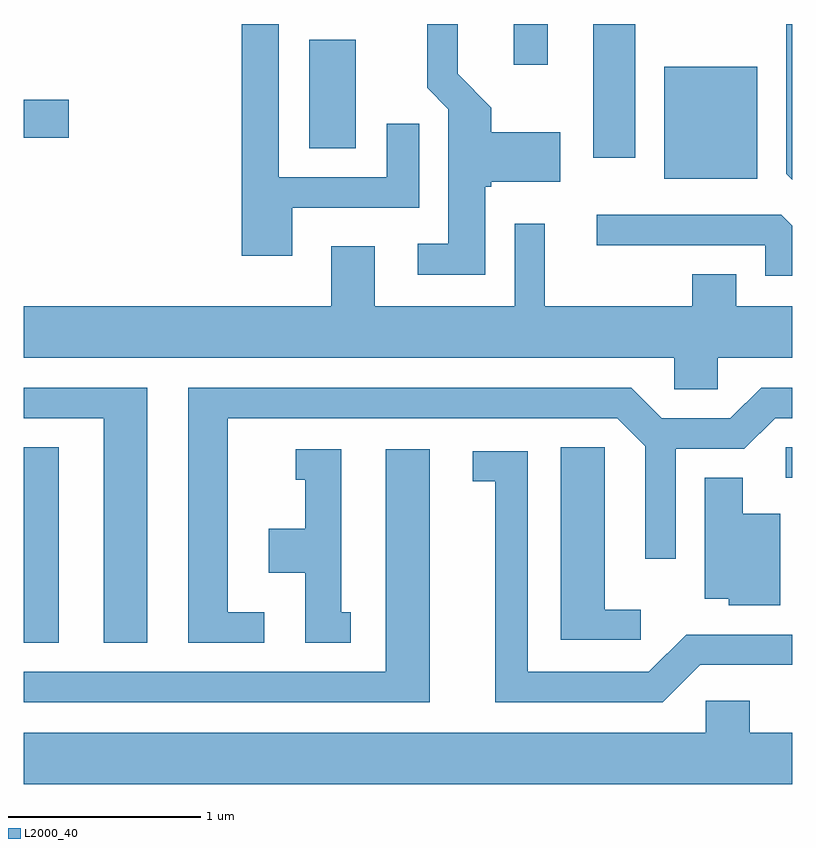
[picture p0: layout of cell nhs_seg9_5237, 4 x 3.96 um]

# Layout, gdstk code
import gdstk
lib = gdstk.Library(unit=1e-6, precision=1e-09)
def R(c, l, rs):  # rectangles x0, y0, x1, y1
    for r in rs: c.add(gdstk.rectangle(r[:2], r[2:], *l))
def P(c, l, *ps):  # polygons
    for p in ps: c.add(gdstk.Polygon(p, *l))
L2000_40 = (2000, 40)

nhs_seg9_5237 = lib.new_cell('nhs_seg9_5237')
R(nhs_seg9_5237, L2000_40, [(339.611,1999.211,339.794,2000.229), (343.578,2000.071,343.611,2000.229), (342.946,2001.626,343.429,2002.209), (342.576,2001.736,342.794,2002.432), (341.096,2001.786,341.339,2002.349), (339.611,2001.841,339.844,2002.039), (342.161,2002.221,342.339,2002.432)])
P(nhs_seg9_5237, L2000_40, [(341.009,2001.476),(341.669,2001.476),(341.669,2001.913),(341.501,2001.913),(341.501,2001.634),(340.939,2001.634),(340.939,2002.432),(340.746,2002.432),(340.746,2001.226),(341.009,2001.226)],
  [(343.611,2002.432),(343.581,2002.432),(343.581,2001.652),(343.611,2001.622)],
  [(342.014,2001.586),(342.044,2001.586),(342.044,2001.611),(342.404,2001.611),(342.404,2001.869),(342.044,2001.869),(342.044,2001.997),(341.869,2002.172),(341.869,2002.432),(341.711,2002.432),(341.711,2002.099),(341.821,2001.989),(341.821,2001.289),(341.663,2001.289),(341.663,2001.126),(342.014,2001.126)],
  [(343.611,2001.382),(343.554,2001.439),(342.593,2001.439),(342.593,2001.281),(343.471,2001.281),(343.471,2001.121),(343.611,2001.121)],
  [(343.224,2000.696),(343.611,2000.696),(343.611,2000.964),(343.319,2000.964),(343.319,2001.129),(343.091,2001.129),(343.091,2000.964),(342.324,2000.964),(342.324,2001.393),(342.166,2001.393),(342.166,2000.964),(341.439,2000.964),(341.439,2001.274),(341.211,2001.274),(341.211,2000.964),(339.611,2000.964),(339.611,2000.696),(342.996,2000.696),(342.996,2000.531),(343.224,2000.531)],
  [(340.863,1999.369),(340.674,1999.369),(340.674,2000.381),(342.699,2000.381),(342.846,2000.234),(342.846,1999.648),(343.004,1999.648),(343.004,2000.221),(343.362,2000.221),(343.522,2000.381),(343.611,2000.381),(343.611,2000.539),(343.449,2000.539),(343.289,2000.379),(342.932,2000.379),(342.772,2000.539),(340.466,2000.539),(340.466,1999.211),(340.863,1999.211)],
  [(340.254,2000.539),(339.611,2000.539),(339.611,2000.381),(340.026,2000.381),(340.026,1999.211),(340.254,1999.211)],
  [(342.823,1999.384),(342.634,1999.384),(342.634,2000.229),(342.406,2000.229),(342.406,1999.226),(342.823,1999.226)],
  [(341.313,1999.369),(341.264,1999.369),(341.264,2000.219),(341.028,2000.219),(341.028,2000.061),(341.076,2000.061),(341.076,1999.804),(340.886,1999.804),(340.886,1999.576),(341.076,1999.576),(341.076,1999.211),(341.313,1999.211)],
  [(341.724,2000.219),(341.496,2000.219),(341.496,1999.059),(339.611,1999.059),(339.611,1998.901),(341.724,1998.901)],
  [(343.132,1999.096),(343.611,1999.096),(343.611,1999.254),(343.059,1999.254),(342.864,1999.059),(342.234,1999.059),(342.234,2000.209),(341.948,2000.209),(341.948,2000.051),(342.066,2000.051),(342.066,1998.901),(342.937,1998.901)],
  [(343.549,1999.884),(343.354,1999.884),(343.354,2000.069),(343.156,2000.069),(343.156,1999.441),(343.281,1999.441),(343.281,1999.406),(343.549,1999.406)],
  [(343.611,1998.744),(343.389,1998.744),(343.389,1998.909),(343.161,1998.909),(343.161,1998.744),(339.611,1998.744),(339.611,1998.476),(343.611,1998.476)])

lib.write_gds('nhs_seg9_5237.gds')
